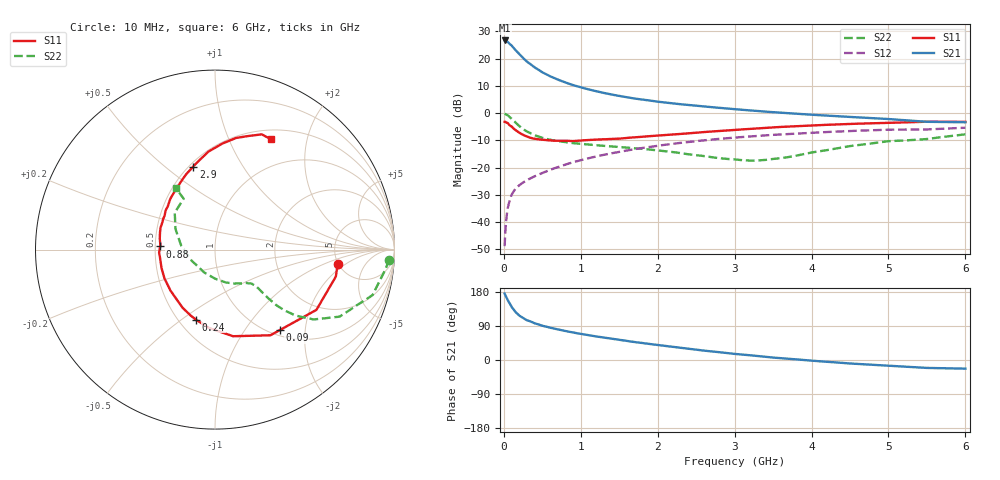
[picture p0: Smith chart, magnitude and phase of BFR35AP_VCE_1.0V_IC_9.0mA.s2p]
! Infineon Technologies  Discrete & RF Semiconductors
! BFR35AP
! VCE =  1.0 V,  IC =  9.0 mA
! Common Emitter S-Parameters:  Nov 2015
# GHz  S  MA  R  50
!  f  S11  S21  S12  S22
! GHz  MAG  ANG  MAG  ANG  MAG  ANG  MAG  ANG
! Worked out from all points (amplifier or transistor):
!   210 points, 10 MHz to 6 GHz, reference 50 ohm
!   highest |S21| = 26.6 dB at 10 MHz (marker M1)
!   |S21| within 3 dB of that: start of sweep to 134.6 MHz
!   unconditionally stable (mu >= 1): 499.1 MHz to end of sweep
!   at 185 MHz: K = 0.57, MSG = 24.5 dB, |S12| = -26.9 dB
!   at 1.52 GHz: K = 1.16, MAG = 7.7 dB, |S12| = -14.1 dB
!   at 6 GHz: K = 1.03, MAG = 0.0 dB, |S12| = -5.4 dB
!   S11 on the Smith chart (normalised r, x): 10 MHz: 4.97, -1.47; 90 MHz: 1.09, -1.47; 240 MHz: 0.61, -0.57; 880 MHz: 0.53, +0.02; 2.9 GHz: 0.52, +0.63; 6 GHz: 0.62, +1.44
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0.01  0.6887 -6.5  21.48 175.5  0.0036 86.0  0.9713 -3.3
0.02  0.6897 -12.6  21.14 170.6  0.0069 84.6  0.9561 -6.6
0.05  0.6573 -30.7  20.29 157.9  0.0178 75.1  0.9136 -16.1
0.09  0.5755 -51.3  17.83 144.1  0.0286 67.1  0.81 -25.6
0.1  0.5685 -57.1  17.4 140.1  0.0314 66.0  0.7881 -28.3
0.15  0.493 -78.2  14.36 126.7  0.0406 59.9  0.6719 -35.4
0.2  0.4376 -94.6  12.07 117.3  0.0471 57.5  0.5775 -39.4
0.24  0.4041 -105.3  10.56 111.8  0.0519 56.8  0.5206 -41.0
0.3  0.3707 -119.2  8.789 104.9  0.0585 56.7  0.4583 -42.2
0.4  0.3373 -137.3  6.886 96.9  0.069 57.5  0.3916 -42.4
0.5  0.3242 -150.3  5.597 90.4  0.0792 58.8  0.3488 -42.1
0.6  0.3152 -160.9  4.742 85.2  0.0905 59.5  0.3228 -41.8
0.7  0.3092 -170.1  4.117 80.5  0.1014 60.0  0.3062 -41.8
0.88  0.3062 176.7  3.325 73.4  0.1225 59.9  0.2828 -42.6
1.02  0.3146 167.9  2.909 68.3  0.1385 59.7  0.2706 -43.9
1.4  0.3354 149.4  2.182 56.3  0.1825 57.0  0.2452 -50.1
2.02  0.3871 127.3  1.604 39.0  0.2531 50.3  0.2038 -65.8
2.9  0.4784 104.6  1.211 18.4  0.345 38.7  0.1438 -107.7
3.1  0.5007 100.7  1.146 14.4  0.3627 35.7  0.1362 -122.3
4.1  0.6003 84.5  0.913 -3.3  0.4417 21.9  0.1979 168.7
5.1  0.6662 72.3  0.758 -16.4  0.4949 8.3  0.3081 134.1
6  0.6891 63.2  0.677 -22.8  0.5373 -1.1  0.4066 122.5
